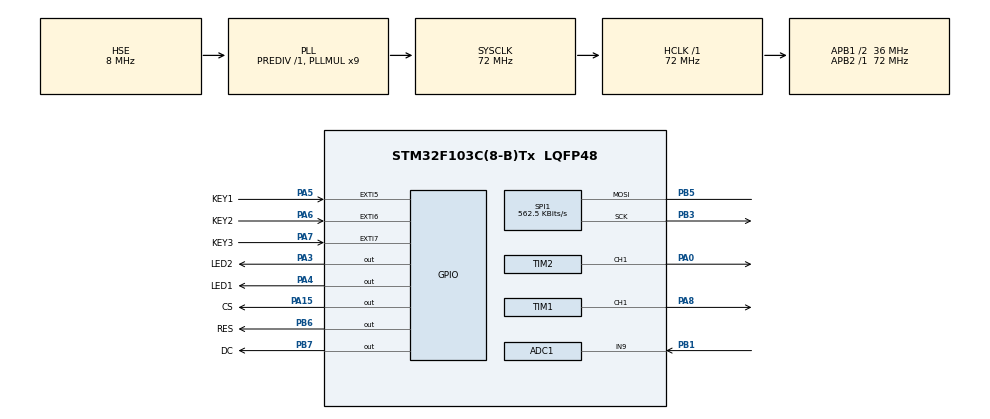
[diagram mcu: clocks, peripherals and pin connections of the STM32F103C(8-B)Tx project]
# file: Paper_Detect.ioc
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ADC1.Channel-0\#ChannelRegularConversion=ADC_CHANNEL_9
ADC1.ContinuousConvMode=ENABLE
ADC1.EnableAnalogWatchDog=false
ADC1.NbrOfConversionFlag=1
ADC1.Rank-0\#ChannelRegularConversion=1
ADC1.SamplingTime-0\#ChannelRegularConversion=ADC_SAMPLETIME_71CYCLES_5
ADC1.master=1
Dma.ADC1.0.Direction=DMA_PERIPH_TO_MEMORY
Dma.ADC1.0.Instance=DMA1_Channel1
Dma.ADC1.0.MemDataAlignment=DMA_MDATAALIGN_HALFWORD
Dma.ADC1.0.MemInc=DMA_MINC_ENABLE
Dma.ADC1.0.Mode=DMA_CIRCULAR
Dma.ADC1.0.PeriphDataAlignment=DMA_PDATAALIGN_HALFWORD
Dma.ADC1.0.PeriphInc=DMA_PINC_DISABLE
Dma.ADC1.0.Priority=DMA_PRIORITY_VERY_HIGH
Dma.Request0=ADC1
Mcu.Family=STM32F1
Mcu.Name=STM32F103C(8-B)Tx
Mcu.Package=LQFP48
NVIC.DMA1_Channel1_IRQn=true\:0\:0\:false\:false\:true\:false
NVIC.EXTI9_5_IRQn=true\:0\:0\:true\:false\:true\:true
NVIC.PriorityGroup=NVIC_PRIORITYGROUP_4
PA0-WKUP.Signal=S_TIM2_CH1_ETR
PA13.Mode=Serial_Wire
PA13.Signal=SYS_JTMS-SWDIO
PA14.Mode=Serial_Wire
PA14.Signal=SYS_JTCK-SWCLK
PA15.GPIO_Label=CS
PA15.GPIO_Speed=GPIO_SPEED_FREQ_HIGH
PA15.Signal=GPIO_Output
PA3.GPIO_Label=LED2
PA3.PinState=GPIO_PIN_SET
PA3.Signal=GPIO_Output
PA4.GPIO_Label=LED1
PA4.PinState=GPIO_PIN_SET
PA4.Signal=GPIO_Output
PA5.GPIO_Label=KEY1
PA5.GPIO_ModeDefaultEXTI=GPIO_MODE_IT_FALLING
PA5.GPIO_PuPd=GPIO_NOPULL
PA5.Signal=GPXTI5
PA6.GPIO_Label=KEY2
PA6.GPIO_ModeDefaultEXTI=GPIO_MODE_IT_FALLING
PA6.GPIO_PuPd=GPIO_NOPULL
PA6.Signal=GPXTI6
PA7.GPIO_Label=KEY3
PA7.GPIO_ModeDefaultEXTI=GPIO_MODE_IT_FALLING
PA7.GPIO_PuPd=GPIO_NOPULL
PA7.Signal=GPXTI7
PA8.Signal=S_TIM1_CH1
PB1.Signal=ADCx_IN9
PB3.Mode=Simplex_Bidirectional_Master
PB3.Signal=SPI1_SCK
PB5.Mode=Simplex_Bidirectional_Master
PB5.Signal=SPI1_MOSI
PB6.GPIO_Label=RES
PB6.GPIO_Speed=GPIO_SPEED_FREQ_HIGH
PB6.Signal=GPIO_Output
PB7.GPIO_Label=DC
PB7.GPIO_Speed=GPIO_SPEED_FREQ_HIGH
PB7.Signal=GPIO_Output
PD0-OSC_IN.Mode=HSE-External-Oscillator
PD0-OSC_IN.Signal=RCC_OSC_IN
PD1-OSC_OUT.Mode=HSE-External-Oscillator
PD1-OSC_OUT.Signal=RCC_OSC_OUT
ProjectManager.HeapSize=0x200
ProjectManager.StackSize=0x400
ProjectManager.TargetToolchain=MDK-ARM V5
RCC.ADCPresc=RCC_ADCPCLK2_DIV6
RCC.AHBFreq_Value=72000000
RCC.APB1CLKDivider=RCC_HCLK_DIV2
RCC.APB1Freq_Value=36000000
RCC.APB1TimFreq_Value=72000000
RCC.APB2Freq_Value=72000000
RCC.APB2TimFreq_Value=72000000
RCC.HCLKFreq_Value=72000000
RCC.PLLMUL=RCC_PLL_MUL9
RCC.PLLSourceVirtual=RCC_PLLSOURCE_HSE
RCC.SYSCLKFreq_VALUE=72000000
RCC.SYSCLKSource=RCC_SYSCLKSOURCE_PLLCLK
RCC.USBFreq_Value=72000000
SH.ADCx_IN9.0=ADC1_IN9,IN9
SH.S_TIM1_CH1.0=TIM1_CH1,PWM Generation1 CH1
SH.S_TIM2_CH1_ETR.0=TIM2_CH1,PWM Generation1 CH1
SPI1.BaudRatePrescaler=SPI_BAUDRATEPRESCALER_128
SPI1.CLKPolarity=SPI_POLARITY_HIGH
SPI1.CalculateBaudRate=562.5 KBits/s
SPI1.Direction=SPI_DIRECTION_1LINE
SPI1.Mode=SPI_MODE_MASTER
SPI1.VirtualType=VM_MASTER
TIM1.Channel-PWM\ Generation1\ CH1=TIM_CHANNEL_1
TIM1.OCFastMode_PWM-PWM\ Generation1\ CH1=TIM_OCFAST_ENABLE
TIM1.Period=48000-1
TIM1.Pulse-PWM\ Generation1\ CH1=2399
TIM2.Channel-PWM\ Generation1\ CH1=TIM_CHANNEL_1
TIM2.OCFastMode_PWM-PWM\ Generation1\ CH1=TIM_OCFAST_ENABLE
TIM2.Period=239
TIM2.Pulse-PWM\ Generation1\ CH1=120
VP_TIM1_VS_ClockSourceINT.Mode=Internal
VP_TIM2_VS_ClockSourceINT.Mode=Internal
board=custom

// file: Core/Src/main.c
/* USER CODE BEGIN Header */
/**
  ******************************************************************************
  * @file           : main.c
  * @brief          : Main program body
  ******************************************************************************
  ** This notice applies to any and all portions of this file
  * that are not between comment pairs USER CODE BEGIN and
  * USER CODE END. Other portions of this file, whether
  * inserted by the user or by software development tools
  * are owned by their respective copyright owners.
  *
  * COPYRIGHT(c) 2018 STMicroelectronics
  *
  * Redistribution and use in source and binary forms, with or without modification,
  * are permitted provided that the following conditions are met:
  *   1. Redistributions of source code must retain the above copyright notice,
  *      this list of conditions and the following disclaimer.
  *   2. Redistributions in binary form must reproduce the above copyright notice,
  *      this list of conditions and the following disclaimer in the documentation
  *      and/or other materials provided with the distribution.
  *   3. Neither the name of STMicroelectronics nor the names of its contributors
  *      may be used to endorse or promote products derived from this software
  *      without specific prior written permission.
  *
  * THIS SOFTWARE IS PROVIDED BY THE COPYRIGHT HOLDERS AND CONTRIBUTORS "AS IS"
  * AND ANY EXPRESS OR IMPLIED WARRANTIES, INCLUDING, BUT NOT LIMITED TO, THE
  * IMPLIED WARRANTIES OF MERCHANTABILITY AND FITNESS FOR A PARTICULAR PURPOSE ARE
  * DISCLAIMED. IN NO EVENT SHALL THE COPYRIGHT HOLDER OR CONTRIBUTORS BE LIABLE
  * FOR ANY DIRECT, INDIRECT, INCIDENTAL, SPECIAL, EXEMPLARY, OR CONSEQUENTIAL
  * DAMAGES (INCLUDING, BUT NOT LIMITED TO, PROCUREMENT OF SUBSTITUTE GOODS OR
  * SERVICES; LOSS OF USE, DATA, OR PROFITS; OR BUSINESS INTERRUPTION) HOWEVER
  * CAUSED AND ON ANY THEORY OF LIABILITY, WHETHER IN CONTRACT, STRICT LIABILITY,
  * OR TORT (INCLUDING NEGLIGENCE OR OTHERWISE) ARISING IN ANY WAY OUT OF THE USE
  * OF THIS SOFTWARE, EVEN IF ADVISED OF THE POSSIBILITY OF SUCH DAMAGE.
  *
  ******************************************************************************
  */
/* USER CODE END Header */

#include "main.h"
#include "adc.h"
#include "dma.h"
#include "spi.h"
#include "tim.h"
#include "gpio.h"

/* USER CODE BEGIN Includes */
#include "oled.h"
/* USER CODE END Includes */

/* USER CODE BEGIN PV */
uint32_t Flash_addr = 0x08008000;
uint32_t adc_value = 0;
uint32_t adc[100],adc_sum = 0;
float vol,limit = 0;
int vol_f;
uint8_t flag = 0 ,n1 = 0,n2 = 0,n3 = 0;
/* USER CODE END PV */

void SystemClock_Config(void);
/* USER CODE BEGIN PFP */
void clear_flash(void);   //擦除FLASH
void write_flash(void);   //写FLASH
void read_flash(void);  //读FLASH
/* USER CODE END PFP */

/* USER CODE BEGIN 0 */
//仿原子延时，不进入systic中断
void delay_us(uint32_t nus)
{
   uint32_t temp;
   SysTick->LOAD = 9*nus;
   SysTick->VAL=0X00;//清空计数器
   SysTick->CTRL=0X01;//使能，减到零是无动作，采用外部时钟源
   do
   {
     temp=SysTick->CTRL;//读取当前倒计数值
   }while((temp&0x01)&&(!(temp&(1<<16))));//等待时间到达
   SysTick->CTRL=0x00; //关闭计数器
   SysTick->VAL =0X00; //清空计数器
}
void delay_ms(uint16_t nms)
{
   uint32_t temp;
   SysTick->LOAD = 9000*nms;
   SysTick->VAL=0X00;//清空计数器
   SysTick->CTRL=0X01;//使能，减到零是无动作，采用外部时钟源
   do
  {
    temp=SysTick->CTRL;//读取当前倒计数值
   }while((temp&0x01)&&(!(temp&(1<<16))));//等待时间到达
   SysTick->CTRL=0x00; //关闭计数器
   SysTick->VAL =0X00; //清空计数器
}
/* USER CODE END 0 */

int main(void)
{

  /* MCU Configuration--------------------------------------------------------*/

  /* Reset of all peripherals, Initializes the Flash interface and the Systick. */
  HAL_Init();

  /* Configure the system clock */
  SystemClock_Config();

  /* Initialize all configured peripherals */
  MX_GPIO_Init();
  MX_DMA_Init();
  MX_TIM1_Init();
  MX_TIM2_Init();
  MX_SPI1_Init();
  MX_ADC1_Init();
  /* USER CODE BEGIN 2 */
	OLED_Init();
	read_flash();  //读FLASH
	if(n1 == 0xff)
		n1 = 0;
	if(n2 == 0xff)
		n2 = 0;
  if(n3 == 0xff)
		n3 = 0;
	OLED_ShowString(0,0,"PWM:OFF");
	OLED_ShowCHinese(0,2,7);//电
	OLED_ShowCHinese(18,2,8);//压
	OLED_ShowChar(37,2 ,':');
  OLED_ShowNum(0,4,n1,1,16);
	OLED_ShowChar(9,4 ,'.');
	OLED_ShowNum(16,4,n2,1,16);
	OLED_ShowNum(24,4,n3,1,16);
	OLED_ShowChar(0,6 ,'^');OLED_ShowChar(16,6 ,' ');OLED_ShowChar(24,6 ,' ');
	limit = n1 + n2/10.0 + n3/100.0;
	HAL_ADCEx_Calibration_Start(&hadc1);  //自校准
	//HAL_ADC_Start_DMA(&hadc1, &adc_value, 1);
  delay_ms(5);
	uint16_t i;
//	HAL_TIM_PWM_Start(&htim2 , TIM_CHANNEL_1 );
//	delay_us(5);
//	HAL_TIM_PWM_Start(&htim1 , TIM_CHANNEL_1 );
//
//
//	delay_ms(10);
//	HAL_TIM_PWM_Stop(&htim2 , TIM_CHANNEL_1 );
//	delay_us(5);
//	HAL_TIM_PWM_Stop(&htim1 , TIM_CHANNEL_1 );
//
  /* USER CODE END 2 */

  /* Infinite loop */
  while (1)
  {

    /* USER CODE BEGIN 3 */

//		OLED_ShowCHinese(0,0,0);//?
//		OLED_ShowCHinese(18,0,1);//?
//		OLED_ShowCHinese(36,0,2);//?
//		OLED_ShowCHinese(54,0,3);//?
//		OLED_ShowCHinese(72,0,4);//?
//		OLED_ShowCHinese(90,0,5);//?
// 		OLED_ShowCHinese(108,0,6);//?
//		OLED_ShowString(0,2,"1.3' OLED TEST");
//		OLED_ShowString(8,2,"ZHONGJINGYUAN");
//	 	OLED_ShowString(20,4,"2014/05/01");
//		OLED_ShowString(0,6,"ASCII:");
//		OLED_ShowString(63,6,"CODE:");
//		OLED_ShowChar(48,6,t);//??ASCII??
//		t++;
//		if(t>'~')t=' ';
		//OLED_ShowNum(103,6,101,3,16);//??ASCII?????
	 adc_sum = 0;
   for(i = 0;i < 100;i++)
	 {
    HAL_ADC_Start(&hadc1);                //启动ADC转换
		HAL_ADC_PollForConversion(&hadc1,10); //等待转换完成
		adc[i] = HAL_ADC_GetValue(&hadc1);
		adc_sum = adc_sum + adc[i];
		delay_ms(5);
	 }
		adc_value = adc_sum / 100;

//    HAL_UART_Transmit(&huart1,"llolllooo",8,10);
//		printf("hello");
  		vol = adc_value/4095.0 * 3.3;
			vol_f = (vol - (int)vol) * 100;
  		OLED_ShowNum(48,2,vol,1,16);
      OLED_ShowChar(56,2 ,'.');
      OLED_ShowNum(64,2,vol_f,2,16);
//    OLED_ShowNum(0,6,adc_value,4,16);

      // OLED_ShowString(56,4,"101");
//    printf("ADC value = %.4f\r\n",vol);  //打印输出
      if(vol > limit)
			{
				HAL_GPIO_WritePin(GPIOA, LED1_Pin, GPIO_PIN_RESET);
			  HAL_GPIO_WritePin(GPIOA, LED2_Pin, GPIO_PIN_SET);
			}
			else
			{
				HAL_GPIO_WritePin(GPIOA, LED1_Pin, GPIO_PIN_SET);
			  HAL_GPIO_WritePin(GPIOA, LED2_Pin, GPIO_PIN_RESET);
			}

  		//delay_ms(100);
//    OLED_Clear();

  }
  /* USER CODE END 3 */
}

void SystemClock_Config(void)
{
  RCC_OscInitTypeDef RCC_OscInitStruct = {0};
  RCC_ClkInitTypeDef RCC_ClkInitStruct = {0};
  RCC_PeriphCLKInitTypeDef PeriphClkInit = {0};

  /**Initializes the CPU, AHB and APB busses clocks
  */
  RCC_OscInitStruct.OscillatorType = RCC_OSCILLATORTYPE_HSE;
  RCC_OscInitStruct.HSEState = RCC_HSE_ON;
  RCC_OscInitStruct.HSEPredivValue = RCC_HSE_PREDIV_DIV1;
  RCC_OscInitStruct.HSIState = RCC_HSI_ON;
  RCC_OscInitStruct.PLL.PLLState = RCC_PLL_ON;
  RCC_OscInitStruct.PLL.PLLSource = RCC_PLLSOURCE_HSE;
  RCC_OscInitStruct.PLL.PLLMUL = RCC_PLL_MUL9;
  if (HAL_RCC_OscConfig(&RCC_OscInitStruct) != HAL_OK)
  {
    Error_Handler();
  }
  /**Initializes the CPU, AHB and APB busses clocks
  */
  RCC_ClkInitStruct.ClockType = RCC_CLOCKTYPE_HCLK|RCC_CLOCKTYPE_SYSCLK
                              |RCC_CLOCKTYPE_PCLK1|RCC_CLOCKTYPE_PCLK2;
  RCC_ClkInitStruct.SYSCLKSource = RCC_SYSCLKSOURCE_PLLCLK;
  RCC_ClkInitStruct.AHBCLKDivider = RCC_SYSCLK_DIV1;
  RCC_ClkInitStruct.APB1CLKDivider = RCC_HCLK_DIV2;
  RCC_ClkInitStruct.APB2CLKDivider = RCC_HCLK_DIV1;

  if (HAL_RCC_ClockConfig(&RCC_ClkInitStruct, FLASH_LATENCY_2) != HAL_OK)
  {
    Error_Handler();
  }
  PeriphClkInit.PeriphClockSelection = RCC_PERIPHCLK_ADC;
  PeriphClkInit.AdcClockSelection = RCC_ADCPCLK2_DIV6;
  if (HAL_RCCEx_PeriphCLKConfig(&PeriphClkInit) != HAL_OK)
  {
    Error_Handler();
  }
}

/* USER CODE BEGIN 4 */
/*******************外部中断回调函数***********************/
void HAL_GPIO_EXTI_Callback(uint16_t GPIO_Pin)
{
	 if(GPIO_Pin & KEY1_Pin)
	 {
//		  HAL_Delay(20);// 延时一小段时间，消除抖动
//    if(HAL_GPIO_ReadPin(KEY1_GPIO_Port, KEY1_Pin) == 0)//按键1判断
//    {
	    if(__HAL_TIM_GET_COUNTER(&htim1) == 0 && __HAL_TIM_GET_COUNTER(&htim2) == 0)
			{
				HAL_TIM_PWM_Start(&htim2 , TIM_CHANNEL_1 );
	      delay_us(5);
				for(int i;i>18000;i++)
				{
					__NOP();

				}
	      HAL_TIM_PWM_Start(&htim1 , TIM_CHANNEL_1 );
				OLED_ShowString(0,0,"PWM: ON");
			}
		  else
			{
	      HAL_TIM_PWM_Stop(&htim1 , TIM_CHANNEL_1 );
				HAL_TIM_PWM_Stop(&htim2 , TIM_CHANNEL_1 );
	      __HAL_TIM_SET_COUNTER(&htim1 ,0);
				__HAL_TIM_SET_COUNTER(&htim2 ,0);
				OLED_ShowString(0,0,"PWM:OFF");
			}
//		 } //硬件已经消抖，故去掉软件消抖
	  }
	 else if(GPIO_Pin & KEY2_Pin)
	 {
		   switch(flag)
			 {
				 case 0 :
					 flag = 1;OLED_ShowChar(0,6 ,' ');OLED_ShowChar(16,6 ,'^');OLED_ShowChar(24,6 ,' ');
				   break;
				 case 1 :
					 flag = 2;OLED_ShowChar(0,6 ,' ');OLED_ShowChar(16,6 ,' ');OLED_ShowChar(24,6 ,'^');
				   break;
				 case 2 :
					 flag = 0;OLED_ShowChar(0,6 ,'^');OLED_ShowChar(16,6 ,' ');OLED_ShowChar(24,6 ,' ');
				   break;
				 default:
					 break;
			 }
			// OLED_ShowNum(0,6,flag,1,16);
	 }
	 else if(GPIO_Pin & KEY3_Pin)
	 {

		 switch(flag)
				{
					case 0:
						n1 = n1 + 1;
					  if(n1 == 4)
							n1 = 0;
						break;
					case 1:
						n2 = n2 + 1;
					  if(n2 == 10)
							n2 = 0;
					  break;
					case 2:
						n3 = n3 + 1;
					  if(n3 == 10)
							n3 = 0;
					  break;
					default:
					 break;
				}

		 OLED_ShowNum(0,4,n1,1,16);
		 OLED_ShowChar(9,4 ,'.');
		 OLED_ShowNum(16,4,n2,1,16);
		 OLED_ShowNum(24,4,n3,1,16);
		 limit = n1 + n2/10.0 + n3/100.0;
		 clear_flash();
		 write_flash();

	 }

	 __HAL_GPIO_EXTI_CLEAR_IT(GPIO_Pin);
}

/*****************************************FLASH相关函数**************************************************/
void clear_flash(void)     //清除FLASH
{
	HAL_FLASH_Unlock();
  FLASH_EraseInitTypeDef f;
  f.TypeErase = FLASH_TYPEERASE_PAGES;
  f.PageAddress = Flash_addr;
  f.NbPages = FLASH_BANK_1;
  uint32_t PageError = 0;
  HAL_FLASHEx_Erase(&f, &PageError);
	HAL_FLASH_Lock();
}

void write_flash(void)   //写FLASH
{
	HAL_FLASH_Unlock();
	HAL_FLASH_Program(FLASH_TYPEPROGRAM_WORD, Flash_addr +  8, (uint32_t)n1);
	HAL_FLASH_Program(FLASH_TYPEPROGRAM_WORD, Flash_addr +  16, (uint32_t)n2);
	HAL_FLASH_Program(FLASH_TYPEPROGRAM_WORD, Flash_addr +  24, (uint32_t)n3);
	HAL_FLASH_Lock();
}

void read_flash(void)   //读FLASH
{
	n1 = *(__IO uint32_t*)(Flash_addr + 8);
  n2 = *(__IO uint32_t*)(Flash_addr + 16);
  n3 = *(__IO uint32_t*)(Flash_addr + 24);
}

/* USER CODE END 4 */

void Error_Handler(void)
{
}

/************************ (C) COPYRIGHT STMicroelectronics *****END OF FILE****/
